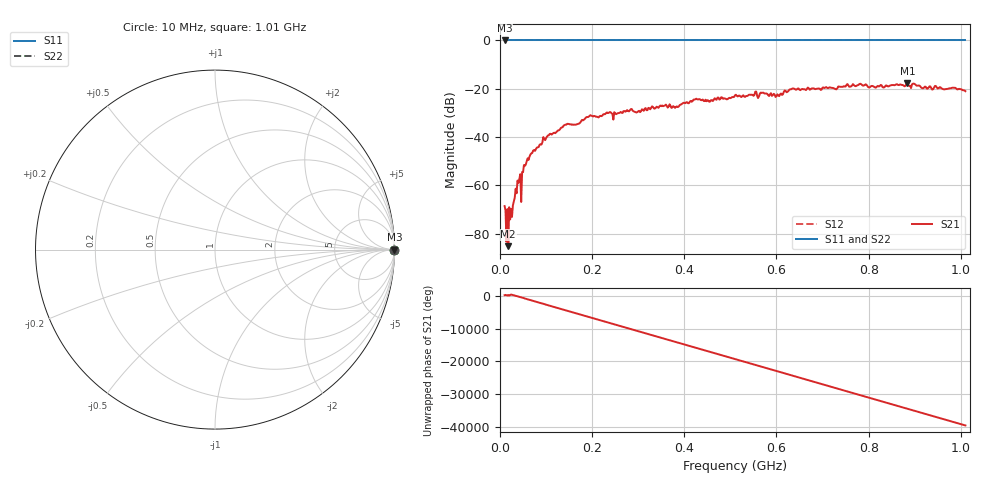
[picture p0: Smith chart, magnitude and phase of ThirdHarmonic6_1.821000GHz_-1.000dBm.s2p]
! 8/16/2025 10:04:11 PM
! C:\ANRITSUVNA\TEMP\TEMP.S2P
! CHANNEL.1
! TR.MEASUREMENT
! RAW.DATA
! RF.CORRECTION.OFF
! AVERAGING.OFF
! IF.BANDWIDTH: 5KHZ
! SWEEPTYPE:  FREQ.SWEEP(Linear)
! Reference Plane Port Info
! PORT:  PORT1  PORT2
! DISTANCE:  0  m  0  m
! TIME:  0  s  0  s
! PHASE.OFFSET:  0  deg.  0  deg.
! LOSS:  0  dB  0  dB
! REF.LOSS:  0  dB  0  dB
! REF.FREQ:  0  Hz  0  Hz
! Power Info
! POWER:  -20  dBm  -20  dBm
! EFF.POWER:  -20  dBm  -20  dBm
! SOURCE.ATTEN:  0  dB  0  dB
! TEST.ATTEN:  0  dB  0  dB
# GHZ S RI R 50.0
! FREQ.GHZ  S11RE  S11IM  S21RE  S21IM  S12RE  S12IM  S22RE  S22IM
!; PortSelection: Port_12
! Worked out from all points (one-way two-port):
!   501 points, 10 MHz to 1.01 GHz, reference 50 ohm
!   highest |S21| = -17.82 dB at 884 MHz (marker M1); lowest = -85.2 dB at 18 MHz (marker M2)
!   lowest |S11| = 0.0 dB at 10 MHz (marker M3)
!   |S11| at or under -10 dB: nowhere
!   |S22| runs from 0.0 to 0.0 dB; largest |S21 - S12| = 1.1
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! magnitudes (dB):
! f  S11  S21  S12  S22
! 10 MHz  0.0  -68.6  0.0  0.0
! 18 MHz  0.0  -85.2  0.0  0.0
! 26 MHz  0.0  -73.1  0.0  0.0
! 40 MHz  0.0  -59.0  0.0  0.0
! 44 MHz  0.0  -55.4  0.0  0.0
! 50 MHz  0.0  -54.6  0.0  0.0
! 52 MHz  0.0  -51.6  0.0  0.0
! 56 MHz  0.0  -51.4  0.0  0.0
! 70 MHz  0.0  -46.6  0.0  0.0
! 106 MHz  0.0  -39.3  0.0  0.0
! 142 MHz  0.0  -34.9  0.0  0.0
! 178 MHz  0.0  -32.9  0.0  0.0
! 236 MHz  0.0  -30.0  0.0  0.0
! 344 MHz  0.0  -27.9  0.0  0.0
! 510 MHz  0.0  -22.7  0.0  0.0
! 570 MHz  0.0  -21.6  0.0  0.0
! 602 MHz  0.0  -22.3  0.0  0.0
! 634 MHz  0.0  -20.0  0.0  0.0
! 678 MHz  0.0  -19.9  0.0  0.0
! 844 MHz  0.0  -19.0  0.0  0.0
! 884 MHz  0.0  -17.8  0.0  0.0
! 1.01 GHz  0.0  -21.0  0.0  0.0
